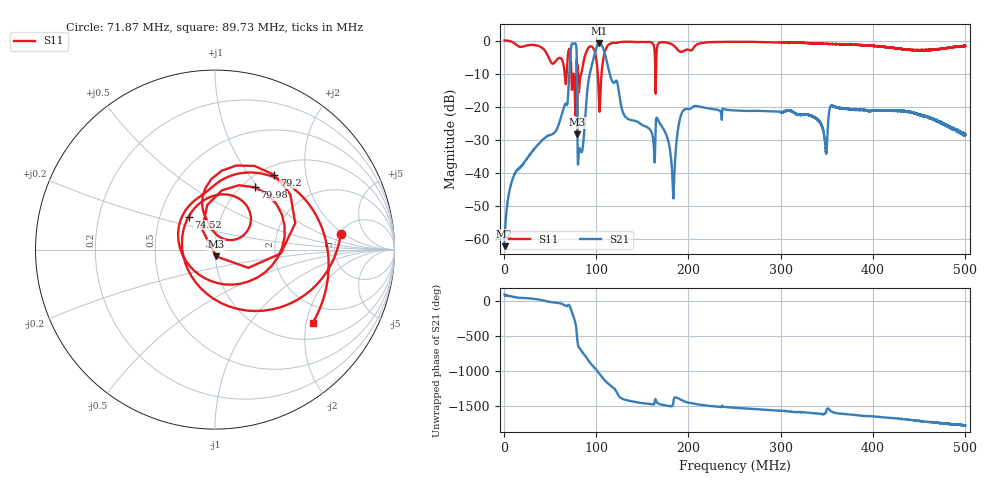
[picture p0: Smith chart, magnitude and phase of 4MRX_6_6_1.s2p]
! NanoVNA-App
! Date: 2026-08-19 17:54:22
! Start: 1MHz Stop: 500MHz Points: 6401
! S-Parameter data: F S11 S21 S12 S22
# Hz S RI R 50
!  Frequency  S11_Real  S11_Imag  S21_Real  S21_Imag  S12_Real  S12_Imag  S22_Real  S22_Imag
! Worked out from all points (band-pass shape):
!   6401 points, 1 MHz to 500 MHz, reference 50 ohm
!   highest |S21| = -0.78 dB at 103.7 MHz (marker M1); lowest = -62.1 dB at 1 MHz (marker M2)
!   |S21| within 3 dB of the highest: 72.47 MHz to 79 MHz (6.537 MHz wide, 8.63 % of centre); 98.77 MHz to 109.3 MHz (10.55 MHz wide, 10.1 % of centre)
!   lowest |S11| = -28.3 dB at 79.59 MHz (marker M3), VSWR 1.08, Z = 50.5 - j3.82 ohm
!   |S11| at or under -10 dB: 73.31 MHz to 78.75 MHz (5.45 MHz wide, 7.17 % of centre); 80.65 MHz to 84 MHz (3.35 MHz wide, 4.07 % of centre); 101.9 MHz to 106 MHz (4.132 MHz wide, 3.98 % of centre) (the widest 3 of 6)
!   S12 and S22 are empty: the file has one direction only
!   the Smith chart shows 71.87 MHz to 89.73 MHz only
!   S11 on the Smith chart (normalised r, x): 71.87 MHz: 5.15, +1.78; 74.52 MHz: 0.70, +0.27; 79.2 MHz: 1.15, +1.34; 79.98 MHz: 1.14, +0.95; 89.73 MHz: 1.44, -2.18
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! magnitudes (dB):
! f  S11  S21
! 1 MHz  0.0  -62.1
! 10.43 MHz  -0.6  -41.2
! 57.45 MHz  -5.8  -26.9
! 71.87 MHz  -3.0  -6.2
! 74.52 MHz  -12.6  -0.9
! 79.2 MHz  -5.5  -5.8
! 79.59 MHz  -28.3  -15.7
! 79.98 MHz  -7.7  -31.4
! 84.19 MHz  -9.8  -33.7
! 89.73 MHz  -3.3  -17.7
! 103.7 MHz  -21.3  -0.8
! 111.9 MHz  -1.8  -6.7
! 131.8 MHz  -0.4  -23.1
! 167.4 MHz  -1.0  -24.2
! 183.4 MHz  -1.4  -46.2
! 195.1 MHz  -3.1  -21.0
! 250.5 MHz  -0.4  -21.1
! 333.7 MHz  -0.8  -22.8
! 348.4 MHz  -1.0  -31.7
! 355.5 MHz  -1.0  -19.7
! 416.9 MHz  -2.1  -21.2
! 500 MHz  -1.6  -28.5
